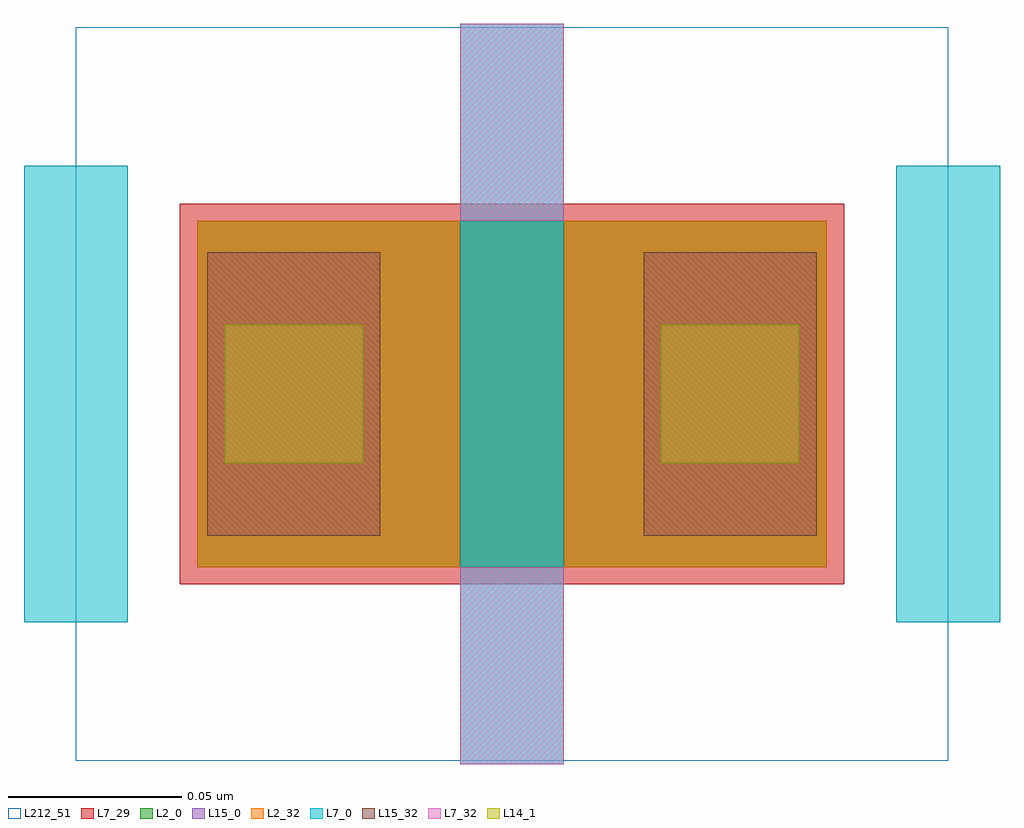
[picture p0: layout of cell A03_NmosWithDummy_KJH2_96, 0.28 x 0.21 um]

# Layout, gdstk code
import gdstk
lib = gdstk.Library(unit=1e-6, precision=1e-09)
def R(c, l, rs):  # rectangles x0, y0, x1, y1
    for r in rs: c.add(gdstk.rectangle(r[:2], r[2:], *l))
L2_0 = (2, 0)
L2_32 = (2, 32)
L7_0 = (7, 0)
L7_29 = (7, 29)
L7_32 = (7, 32)
L14_1 = (14, 1)
L15_0 = (15, 0)
L15_32 = (15, 32)
L212_51 = (212, 51)

a03_nmoswithdummy_kjh2_9 = lib.new_cell('A03_NmosWithDummy_KJH2_96')
R(a03_nmoswithdummy_kjh2_9, L2_0, [(-0.076,0.057,0.106,0.157)])
R(a03_nmoswithdummy_kjh2_9, L2_32, [(-0.076,0.057,0,0.157), (0.03,0.057,0.106,0.157)])
R(a03_nmoswithdummy_kjh2_9, L7_0, [(0,0,0.03,0.214), (-0.126,0.041,-0.096,0.173), (0.126,0.041,0.156,0.173)])
R(a03_nmoswithdummy_kjh2_9, L7_29, [(-0.081,0.052,0.111,0.162)])
R(a03_nmoswithdummy_kjh2_9, L7_32, [(0,0,0.03,0.057), (0,0.157,0.03,0.214)])
R(a03_nmoswithdummy_kjh2_9, L14_1, [(-0.068,0.087,-0.028,0.127), (0.058,0.087,0.098,0.127)])
R(a03_nmoswithdummy_kjh2_9, L15_0, [(-0.073,0.066,-0.023,0.148), (-0.073,0.066,-0.023,0.148), (0.053,0.066,0.103,0.148), (0.053,0.066,0.103,0.148)])
R(a03_nmoswithdummy_kjh2_9, L15_32, [(-0.073,0.066,-0.023,0.148), (0.053,0.066,0.103,0.148)])
R(a03_nmoswithdummy_kjh2_9, L212_51, [(-0.111,0.001,0.141,0.213)])

lib.write_gds('A03_NmosWithDummy_KJH2_96.gds')
